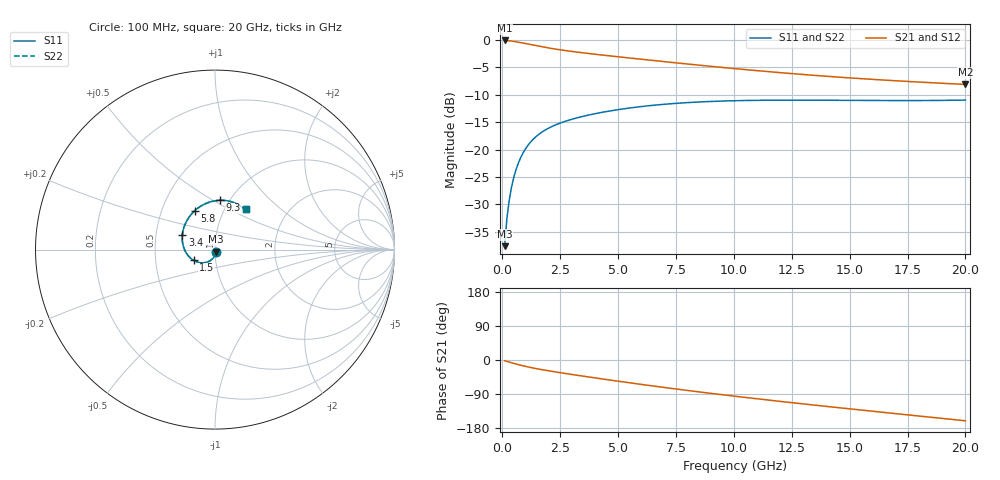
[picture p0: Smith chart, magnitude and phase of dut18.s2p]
! Touchstone file exported from HFSS 2023.1.0
!  File:  D:/Users/fzz/RDL_TSV/temp_RDL_TSV_18_1778743412.aedt
!  Generated:  3:31:21 %x4E0B%x5348  5%x6708 14, 2026
!  Design:  RDL_TSV
!  Project:  temp_RDL_TSV_18_1778743412
!  Setup:  Setup1
!  Solution:  Sweep
! Variables:
!  dtsv = 17.7um
!  hbump = 3um
!  htsv = 88.31um
!  ldown = 115.34um
!  lrdl = 390.72um
!  p = 40
!  p1 = 57.46um
!  rhole = 10um
!  subl = 1908.9um
!  t = 450um
!  tdown = 3.42um
!  trdl = 4.2um
!  viad = 10um
!  wdown = 29.82um
!  wrdl = 27.08um
!  xbump = 18um
# GHz S MA R 50.000000
! Terminal data exported
! Port[1] = TM1_1_T1
! Port[2] = TM1_4_T1
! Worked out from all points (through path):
!   200 points, 100 MHz to 20 GHz, reference 50 ohm
!   highest |S21| = -0.07 dB at 100 MHz (marker M1); lowest = -8.1 dB at 20 GHz (marker M2)
!   group delay of S21, straight-line fit = 20.8 ps
!   lowest |S11| = -37.7 dB at 100 MHz (marker M3), VSWR 1.03, Z = 50.6 - j1.18 ohm
!   |S11| at or under -10 dB: start of sweep to end of sweep
!   |S22| runs from -37.7 to -11.0 dB; largest |S21 - S12| = 1.5e-14
!   S11 on the Smith chart (normalised r, x): 100 MHz: 1.01, -0.02; 1.5 GHz: 0.78, -0.10; 3.4 GHz: 0.68, +0.11; 5.8 GHz: 0.73, +0.34; 9.3 GHz: 0.91, +0.54; 20 GHz: 1.25, +0.61
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0.1  0.01308 -62.9  0.9921 -1.9  0.9921 -1.9  0.01309 -62.9
! Gamma 0 0 0 0
! Port Impedance 50 0 50 0
0.2  0.02356 -82.0  0.9892 -3.8  0.9892 -3.8  0.02356 -82.0
0.3  0.03456 -92.4  0.9847 -5.6  0.9847 -5.6  0.03456 -92.4
0.4  0.04546 -100.3  0.979 -7.4  0.979 -7.4  0.04546 -100.3
0.5  0.05602 -107.0  0.9723 -9.1  0.9723 -9.1  0.05602 -107.0
0.7  0.07571 -118.5  0.9567 -12.4  0.9567 -12.4  0.07571 -118.5
0.9  0.09325 -128.6  0.9393 -15.4  0.9393 -15.4  0.09324 -128.6
1.2  0.1155 -141.9  0.912 -19.5  0.912 -19.5  0.1155 -141.8
1.5  0.1336 -153.4  0.8856 -23.1  0.8856 -23.1  0.1335 -153.4
1.9  0.1527 -166.7  0.8541 -27.5  0.8541 -27.5  0.1526 -166.7
2.3  0.1679 -178.3  0.8269 -31.5  0.8269 -31.5  0.1678 -178.3
3.4  0.1989 156.1  0.7685 -41.8  0.7685 -41.8  0.1988 156.2
3.5  0.2013 154.1  0.764 -42.7  0.764 -42.7  0.2012 154.2
4.6  0.2242 134.8  0.7188 -52.5  0.7188 -52.5  0.224 134.8
5.8  0.2441 117.8  0.6751 -62.7  0.6751 -62.7  0.2438 117.8
6.8  0.2569 106.1  0.6415 -70.9  0.6415 -70.9  0.2566 106.2
9.3  0.2764 84.2  0.5675 -90.2  0.5675 -90.2  0.2758 84.2
10.1  0.2794 78.9  0.5469 -96.0  0.5469 -96.0  0.2789 78.9
11.7  0.2823 70.2  0.5102 -107.2  0.5102 -107.2  0.2817 70.3
13.4  0.2823 63.4  0.4773 -118.6  0.4773 -118.6  0.2817 63.5
16.7  0.28 55.6  0.4283 -139.7  0.4283 -139.7  0.2793 55.7
20  0.283 52.5  0.3935 -160.4  0.3935 -160.4  0.2823 52.6
